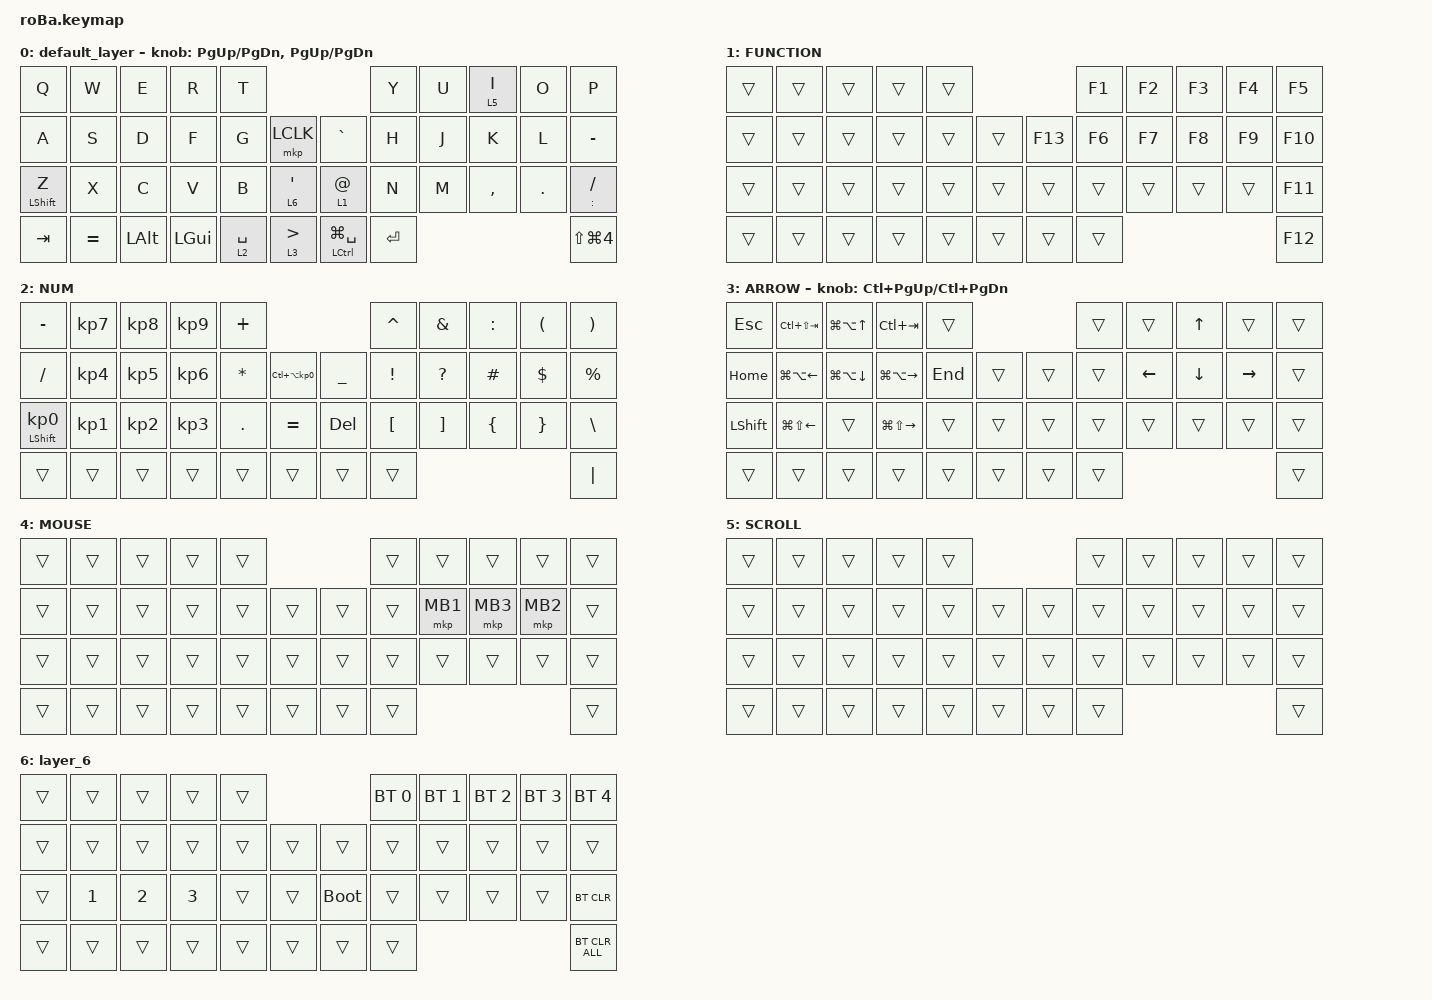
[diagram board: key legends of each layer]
#include <behaviors.dtsi>
#include <dt-bindings/zmk/bt.h>
#include <dt-bindings/zmk/keys.h>
#include <dt-bindings/zmk/pointing.h>

&mt {
    flavor = "balanced";
    quick-tap-ms = <0>;
};

&trackball {
    automouse-layer = <4>;
    scroll-layers = <5>;

    // arrows {
    //     layers = <3>;
    //     bindings =
    //         <&kp RIGHT_ARROW>,
    //         <&kp LEFT_ARROW>,
    //         <&kp UP_ARROW>,
    //         <&kp DOWN_ARROW>;
    //     tick = <10>;
    //     wait-ms = <5>;
    //     tap-ms = <5>;
    // };
};

/ {
    combos {
        compatible = "zmk,combos";

        tab {
            bindings = <&kp TAB>;
            key-positions = <11 12>;
        };

        shift_tab {
            bindings = <&kp LS(TAB)>;
            key-positions = <12 13>;
        };

        muhennkann {
            bindings = <&to_layer_0 INT_MUHENKAN>;
            key-positions = <11 10>;
        };

        double_quotation {
            bindings = <&kp DOUBLE_QUOTES>;
            key-positions = <20 21>;
        };

        eq {
            bindings = <&kp EQUAL>;
            key-positions = <24 25>;
        };
    };

    macros {
        to_layer_0: to_layer_0 {
            compatible = "zmk,behavior-macro-one-param";
            #binding-cells = <1>;
            bindings = <&to 0 &macro_param_1to1 &kp MACRO_PLACEHOLDER>;
            label = "TO_LAYER_0";
        };

        to_layer_2: to_layer_2 {
            compatible = "zmk,behavior-macro-one-param";
            #binding-cells = <1>;
            bindings = <&to 2 &macro_param_1to1 &kp MACRO_PLACEHOLDER>;
            label = "TO_LAYER_2";
        };
    };

    behaviors {
        lt_to_layer_0: lt_to_layer_0 {
            compatible = "zmk,behavior-hold-tap";
            label = "LAYER_TAP_TO_0";
            bindings = <&mo>, <&to_layer_0>;

            #binding-cells = <2>;
            tapping-term-ms = <200>;
        };
    };

    keymap {
        compatible = "zmk,keymap";

        default_layer {
            bindings = <
&kp Q             &kp W      &kp E         &kp R         &kp T                                                            &kp Y      &kp U  &lt 5 I    &kp O    &kp P
&kp A             &kp S      &kp D         &kp F         &kp G        &mkp LCLK               &kp GRAVE                   &kp H      &kp J  &kp K      &kp L    &kp MINUS
&mt LEFT_SHIFT Z  &kp X      &kp C         &kp V         &kp B        &lt 6 SQT               &lt 1 AT                    &kp N      &kp M  &kp COMMA  &kp DOT  &mt COLON SLASH
&kp TAB           &kp EQUAL  &kp LEFT_ALT  &kp LEFT_GUI  &lt 2 SPACE  &lt 3 GREATER_THAN      &mt LEFT_CONTROL LG(SPACE)  &kp ENTER                             &kp LS(LG(NUMBER_4))
            >;

            sensor-bindings =
                <&inc_dec_kp PG_UP PAGE_DOWN>,
                <&inc_dec_kp PAGE_UP PAGE_DOWN>;
        };

        FUNCTION {
            bindings = <
&trans  &trans  &trans  &trans  &trans                       &kp F1  &kp F2  &kp F3  &kp F4  &kp F5
&trans  &trans  &trans  &trans  &trans  &trans      &kp F13  &kp F6  &kp F7  &kp F8  &kp F9  &kp F10
&trans  &trans  &trans  &trans  &trans  &trans      &trans   &trans  &trans  &trans  &trans  &kp F11
&trans  &trans  &trans  &trans  &trans  &trans      &trans   &trans                          &kp F12
            >;
        };

        NUM {
            bindings = <
&kp MINUS                   &kp KP_NUMBER_7  &kp KP_NUMBER_8  &kp KP_NUMBER_9  &kp PLUS                                                   &kp CARET         &kp AMPERSAND      &kp COLON       &kp LEFT_PARENTHESIS  &kp RIGHT_PARENTHESIS
&kp SLASH                   &kp KP_NUMBER_4  &kp KP_NUMBER_5  &kp KP_NUMBER_6  &kp ASTERISK  &kp LC(LA(KP_NUMBER_0))      &kp UNDERSCORE  &kp EXCLAMATION   &kp QUESTION       &kp HASH        &kp DOLLAR            &kp PERCENT
&mt LEFT_SHIFT KP_NUMBER_0  &kp KP_NUMBER_1  &kp KP_NUMBER_2  &kp KP_NUMBER_3  &kp PERIOD    &kp EQUAL                    &kp DELETE      &kp LEFT_BRACKET  &kp RIGHT_BRACKET  &kp LEFT_BRACE  &kp RIGHT_BRACE       &kp BACKSLASH
&trans                      &trans           &trans           &trans           &trans        &trans                       &trans          &trans                                                                     &kp PIPE
            >;
        };

        ARROW {
            bindings = <
&kp ESCAPE      &kp LC(LS(TAB))         &kp LG(LA(UP_ARROW))    &kp LC(TAB)              &trans                       &trans  &trans    &kp UP_ARROW  &trans     &trans
&kp HOME        &kp LG(LA(LEFT_ARROW))  &kp LG(LA(DOWN_ARROW))  &kp LG(LA(RIGHT_ARROW))  &kp END  &trans      &trans  &trans  &kp LEFT  &kp DOWN      &kp RIGHT  &trans
&kp LEFT_SHIFT  &kp LG(LS(LEFT_ARROW))  &trans                  &kp LG(LS(RIGHT_ARROW))  &trans   &trans      &trans  &trans  &trans    &trans        &trans     &trans
&trans          &trans                  &trans                  &trans                   &trans   &trans      &trans  &trans                                     &trans
            >;

            sensor-bindings = <&inc_dec_kp LC(PAGE_UP) LC(PAGE_DOWN)>;
        };

        MOUSE {
            bindings = <
&trans  &trans  &trans  &trans  &trans                      &trans  &trans    &trans    &trans    &trans
&trans  &trans  &trans  &trans  &trans  &trans      &trans  &trans  &mkp MB1  &mkp MB3  &mkp MB2  &trans
&trans  &trans  &trans  &trans  &trans  &trans      &trans  &trans  &trans    &trans    &trans    &trans
&trans  &trans  &trans  &trans  &trans  &trans      &trans  &trans                                &trans
            >;
        };

        SCROLL {
            bindings = <
&trans  &trans  &trans  &trans  &trans                      &trans  &trans  &trans  &trans  &trans
&trans  &trans  &trans  &trans  &trans  &trans      &trans  &trans  &trans  &trans  &trans  &trans
&trans  &trans  &trans  &trans  &trans  &trans      &trans  &trans  &trans  &trans  &trans  &trans
&trans  &trans  &trans  &trans  &trans  &trans      &trans  &trans                          &trans
            >;
        };

        layer_6 {
            bindings = <
&trans  &trans        &trans        &trans        &trans                           &bt BT_SEL 0  &bt BT_SEL 1  &bt BT_SEL 2  &bt BT_SEL 3  &bt BT_SEL 4
&trans  &trans        &trans        &trans        &trans  &trans      &trans       &trans        &trans        &trans        &trans        &trans
&trans  &kp NUMBER_1  &kp NUMBER_2  &kp NUMBER_3  &trans  &trans      &bootloader  &trans        &trans        &trans        &trans        &bt BT_CLR
&trans  &trans        &trans        &trans        &trans  &trans      &trans       &trans                                                  &bt BT_CLR_ALL
            >;
        };
    };
};
